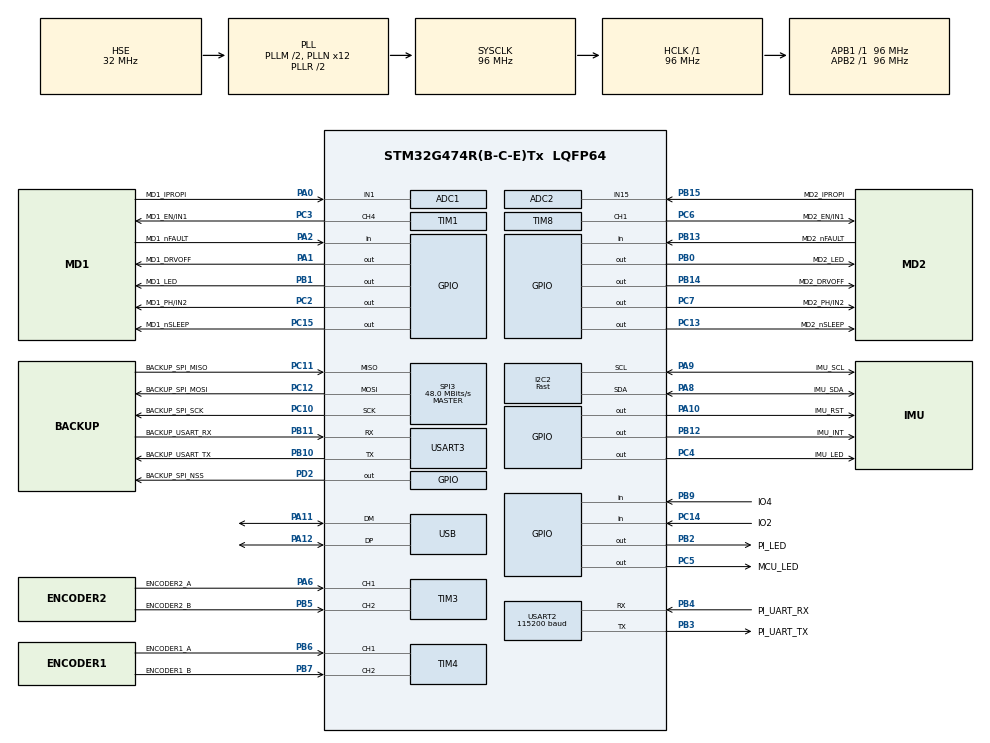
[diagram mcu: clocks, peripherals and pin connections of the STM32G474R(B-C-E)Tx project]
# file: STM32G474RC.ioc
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ADC1.Channel-2\#ChannelRegularConversion=ADC_CHANNEL_1
ADC1.NbrOfConversionFlag=1
ADC1.OffsetNumber-2\#ChannelRegularConversion=ADC_OFFSET_NONE
ADC1.Rank-2\#ChannelRegularConversion=1
ADC1.SamplingTime-2\#ChannelRegularConversion=ADC_SAMPLETIME_2CYCLES_5
ADC1.master=1
ADC2.Channel-0\#ChannelRegularConversion=ADC_CHANNEL_15
ADC2.NbrOfConversionFlag=1
ADC2.OffsetNumber-0\#ChannelRegularConversion=ADC_OFFSET_NONE
ADC2.Rank-0\#ChannelRegularConversion=1
ADC2.SamplingTime-0\#ChannelRegularConversion=ADC_SAMPLETIME_2CYCLES_5
I2C2.CustomTiming=Disabled
I2C2.I2C_Speed_Mode=I2C_Fast
I2C2.Timing=0x20611033
Mcu.Family=STM32G4
Mcu.Name=STM32G474R(B-C-E)Tx
Mcu.Package=LQFP64
NVIC.PriorityGroup=NVIC_PRIORITYGROUP_4
NVIC.TIM6_DAC_IRQn=true\:0\:0\:false\:false\:true\:true\:true\:true
NVIC.USART2_IRQn=true\:0\:0\:false\:false\:true\:true\:true\:true
NVIC.USB_LP_IRQn=true\:0\:0\:false\:false\:true\:false\:true\:true
PA0.GPIO_Label=MD1_IPROPI
PA0.Mode=IN1-Single-Ended
PA0.Signal=ADC1_IN1
PA1.GPIO_Label=MD1_DRVOFF
PA1.PinState=GPIO_PIN_RESET
PA1.Signal=GPIO_Output
PA10.GPIO_Label=IMU_RST
PA10.Signal=GPIO_Output
PA11.Mode=Device
PA11.Signal=USB_DM
PA12.Mode=Device
PA12.Signal=USB_DP
PA13.GPIO_Label=JTAG_SWDIO
PA13.Mode=Serial_Wire
PA13.Signal=SYS_JTMS-SWDIO
PA14.GPIO_Label=JTAG_SWCLK
PA14.Mode=Serial_Wire
PA14.Signal=SYS_JTCK-SWCLK
PA15.GPIO_Label=BACKUP_I2C_SCL
PA15.Signal=I2C1_SCL
PA2.GPIO_Label=MD1_nFAULT
PA2.Signal=GPIO_Input
PA3.GPIO_Label=BUZZER
PA3.Signal=S_TIM2_CH4
PA6.GPIO_Label=ENCODER2_A
PA6.Signal=S_TIM3_CH1
PA8.GPIO_Label=IMU_SDA
PA8.Mode=I2C
PA8.Signal=I2C2_SDA
PA9.GPIO_Label=IMU_SCL
PA9.Mode=I2C
PA9.Signal=I2C2_SCL
PB0.GPIO_Label=MD2_LED
PB0.Signal=GPIO_Output
PB1.GPIO_Label=MD1_LED
PB1.Signal=GPIO_Output
PB10.GPIO_Label=BACKUP_USART_TX
PB10.Mode=Asynchronous
PB10.Signal=USART3_TX
PB11.GPIO_Label=BACKUP_USART_RX
PB11.Mode=Asynchronous
PB11.Signal=USART3_RX
PB12.GPIO_Label=IMU_INT
PB12.Signal=GPIO_Output
PB13.GPIO_Label=MD2_nFAULT
PB13.Signal=GPIO_Input
PB14.GPIO_Label=MD2_DRVOFF
PB14.Signal=GPIO_Output
PB15.GPIO_Label=MD2_IPROPI
PB15.Mode=IN15-Single-Ended
PB15.Signal=ADC2_IN15
PB2.GPIO_Label=PI_LED
PB2.Signal=GPIO_Output
PB3.GPIO_Label=PI_UART_TX
PB3.Mode=Asynchronous
PB3.Signal=USART2_TX
PB4.GPIO_Label=PI_UART_RX
PB4.Mode=Asynchronous
PB4.Signal=USART2_RX
PB5.GPIO_Label=ENCODER2_B
PB5.Signal=S_TIM3_CH2
PB6.GPIO_Label=ENCODER1_A
PB6.Signal=S_TIM4_CH1
PB7.GPIO_Label=ENCODER1_B
PB7.Signal=S_TIM4_CH2
PB8-BOOT0.GPIO_Label=BOOT
PB8-BOOT0.Signal=EVENTOUT
PB9.GPIO_Label=IO4
PB9.Signal=GPIO_Input
PC10.GPIO_Label=BACKUP_SPI_SCK
PC10.Mode=Full_Duplex_Master
PC10.Signal=SPI3_SCK
PC11.GPIO_Label=BACKUP_SPI_MISO
PC11.Mode=Full_Duplex_Master
PC11.Signal=SPI3_MISO
PC12.GPIO_Label=BACKUP_SPI_MOSI
PC12.Mode=Full_Duplex_Master
PC12.Signal=SPI3_MOSI
PC13.GPIO_Label=MD2_nSLEEP
PC13.Signal=GPIO_Output
PC14-OSC32_IN.GPIO_Label=IO2
PC14-OSC32_IN.Signal=GPIO_Input
PC15-OSC32_OUT.GPIO_Label=MD1_nSLEEP
PC15-OSC32_OUT.Signal=GPIO_Output
PC2.GPIO_Label=MD1_PH/IN2
PC2.Signal=GPIO_Output
PC3.GPIO_Label=MD1_EN/IN1
PC3.Signal=S_TIM1_CH4
PC4.GPIO_Label=IMU_LED
PC4.Signal=GPIO_Output
PC5.GPIO_Label=MCU_LED
PC5.Signal=GPIO_Output
PC6.GPIO_Label=MD2_EN/IN1
PC6.Signal=S_TIM8_CH1
PC7.GPIO_Label=MD2_PH/IN2
PC7.Signal=GPIO_Output
PD2.GPIO_Label=BACKUP_SPI_NSS
PD2.Signal=GPIO_Output
PF0-OSC_IN.GPIO_Label=OSCILLATOR_IN
PF0-OSC_IN.Mode=HSE-External-Oscillator
PF0-OSC_IN.Signal=RCC_OSC_IN
PF1-OSC_OUT.GPIO_Label=OSCILLATOR_OUT
PF1-OSC_OUT.Mode=HSE-External-Oscillator
PF1-OSC_OUT.Signal=RCC_OSC_OUT
PG10-NRST.GPIO_Label=MCU_NRST
PG10-NRST.Signal=EVENTOUT
ProjectManager.HeapSize=0x200
ProjectManager.StackSize=0x400
ProjectManager.TargetToolchain=STM32CubeIDE
RCC.ADC12Freq_Value=96000000
RCC.ADC345Freq_Value=96000000
RCC.AHBFreq_Value=96000000
RCC.APB1Freq_Value=96000000
RCC.APB1TimFreq_Value=96000000
RCC.APB2Freq_Value=96000000
RCC.APB2TimFreq_Value=96000000
RCC.CortexFreq_Value=96000000
RCC.EXTERNAL_CLOCK_VALUE=12288000
RCC.HCLKFreq_Value=96000000
RCC.HSE_VALUE=32000000
RCC.HSI48_VALUE=48000000
RCC.HSI_VALUE=16000000
RCC.LSE_VALUE=32768
RCC.PLLM=RCC_PLLM_DIV2
RCC.PLLN=12
RCC.PLLQ=RCC_PLLQ_DIV4
RCC.PLLSourceVirtual=RCC_PLLSOURCE_HSE
RCC.SYSCLKFreq_VALUE=96000000
RCC.SYSCLKSource=RCC_SYSCLKSOURCE_PLLCLK
RCC.USBFreq_Value=48000000
RCC.VCOOutputFreq_Value=192000000
SH.S_TIM1_CH4.0=TIM1_CH4,PWM Generation4 CH4
SH.S_TIM2_CH4.0=TIM2_CH4
SH.S_TIM3_CH1.0=TIM3_CH1,Encoder_Interface
SH.S_TIM3_CH2.0=TIM3_CH2,Encoder_Interface
SH.S_TIM4_CH1.0=TIM4_CH1,Encoder_Interface
SH.S_TIM4_CH2.0=TIM4_CH2,Encoder_Interface
SH.S_TIM8_CH1.0=TIM8_CH1,PWM Generation1 CH1
SPI3.BaudRatePrescaler=SPI_BAUDRATEPRESCALER_2
SPI3.CalculateBaudRate=48.0 MBits/s
SPI3.Direction=SPI_DIRECTION_2LINES
SPI3.Mode=SPI_MODE_MASTER
SPI3.VirtualType=VM_MASTER
TIM1.AutoReloadPreload=TIM_AUTORELOAD_PRELOAD_ENABLE
TIM1.Channel-PWM\ Generation4\ CH4=TIM_CHANNEL_4
TIM1.PeriodNoDither=4799
TIM1.Prescaler=0
TIM3.AutoReloadPreload=TIM_AUTORELOAD_PRELOAD_ENABLE
TIM3.EncoderMode=TIM_ENCODERMODE_TI12
TIM3.IC1Filter=6
TIM3.IC2Filter=6
TIM4.EncoderMode=TIM_ENCODERMODE_TI12
TIM4.IC1Filter=6
TIM4.IC2Filter=6
TIM6.PeriodNoDither=999
TIM6.Prescaler=9599
TIM8.AutoReloadPreload=TIM_AUTORELOAD_PRELOAD_ENABLE
TIM8.Channel-PWM\ Generation1\ CH1=TIM_CHANNEL_1
TIM8.PeriodNoDither=4799
TIM8.Prescaler=0
USART2.BaudRate=115200
USART2.VirtualMode-Asynchronous=VM_ASYNC
USART3.VirtualMode-Asynchronous=VM_ASYNC
USB_DEVICE.CLASS_NAME_FS=CDC
USB_DEVICE.VirtualMode=Cdc
USB_DEVICE.VirtualModeFS=Cdc_FS
VP_SYS_VS_DBSignals.Mode=DisableDeadBatterySignals
VP_TIM5_VS_ClockSourceINT.Mode=Internal
VP_TIM6_VS_ClockSourceINT.Mode=Enable_Timer
VP_USB_DEVICE_VS_USB_DEVICE_CDC_FS.Mode=CDC_FS
board=custom

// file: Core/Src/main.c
/* USER CODE BEGIN Header */
/**
  ******************************************************************************
  * @file           : main.c
  * @brief          : Main program body
  ******************************************************************************
  * @attention
  *
  * Copyright (c) 2026 STMicroelectronics.
  * All rights reserved.
  *
  * This software is licensed under terms that can be found in the LICENSE file
  * in the root directory of this software component.
  * If no LICENSE file comes with this software, it is provided AS-IS.
  *
  ******************************************************************************
  */
/* USER CODE END Header */
#include "main.h"
#include "adc.h"
#include "i2c.h"
#include "spi.h"
#include "tim.h"
#include "usart.h"
#include "usb_device.h"
#include "gpio.h"

/* USER CODE BEGIN Includes */
#include "usbd_cdc_if.h"
#include <bno055.h>
#include "drv8245-q1.h"
#include "pid.h"
#include "motor.h"

/* USER CODE END Includes */

/* USER CODE BEGIN PD */
#define TX_BUFFER_SIZE 102 //currently set for imu (3 * 4 doubles), 2 encoders (2 uint16_t) => (8 * 3 * 4) + (2 * 2) + 2 (framing) = 102 bytes
#define RX_BUFFER_SIZE 10//currently set for 6 floats, (3 linear velocity, 3 angular velocity)
//#define MOTOR_CPR 996.8f

/* USER CODE END PD */

/* USER CODE BEGIN PV */
uint8_t tx_buffer_a[TX_BUFFER_SIZE];
uint8_t tx_buffer_b[TX_BUFFER_SIZE];
uint8_t rx_buffer[RX_BUFFER_SIZE];
int32_t received_left_tics = 0;
int32_t received_right_tics = 0;
uint8_t rx_byte;                      // Temp buffer for the HAL_UART_Receive_IT call
volatile uint8_t new_cmd_flag = 0;    // Flag set by ISR, cleared by main loop. MUST BE VOLATILE.
volatile uint8_t uart2_tx_busy = 0;
uint8_t next_tx_buffer = 0;

uint16_t encoder1;
uint16_t encoder2;

Motor left_motor;
Motor right_motor;

float right_motor_tics;
float left_motor_tics;
float error_integral;
float right_pid_output;
float left_pid_output;
float error;
float p_term;
float i_term;
float d_term;
uint16_t current_encoder;

bno055_units_t current_units;

uint32_t last_imu_read = 0;

bno055_data_vector euler;
bno055_data_vector quaternion;
bno055_data_vector linear;
bno055_data_vector angular;

/* USER CODE END PV */

void SystemClock_Config(void);

/* USER CODE BEGIN 0 */

/*-------------------------------------------------------- init DWT for microsecond delays --------------------------------------------------------*/

uint8_t DWT_Init(void)
{
    /* Check if DWT is present */
    if (!(CoreDebug->DEMCR & CoreDebug_DEMCR_TRCENA_Msk)) {
        /* Enable TRC (Trace) */
        CoreDebug->DEMCR |= CoreDebug_DEMCR_TRCENA_Msk;
    }

    /* Reset the cycle counter */
    DWT->CYCCNT = 0;

    /* Enable cycle counter */
    DWT->CTRL |= DWT_CTRL_CYCCNTENA_Msk;

    uint32_t start = DWT->CYCCNT;
    for (volatile int i = 0; i < 100; i++);
    uint32_t end = DWT->CYCCNT;

    if (end > start) {
        return 0;
    } else {
        return 1;
    }
}

/*-------------------------------------------------------- makes printf redirect to usb --------------------------------------------------------*/
int _write(int file, char *ptr, int len) {
	uint8_t result = USBD_OK;
	uint32_t start_tick = HAL_GetTick();
	uint32_t timeout_ms = 10;

	do {
		result = CDC_Transmit_FS((uint8_t *)ptr, len);

		//if timed out
		if ((HAL_GetTick() - start_tick) > timeout_ms) {
			return 0;
		}

	} while (result == USBD_BUSY);

	if (result == USBD_OK) {
		return len;
	} else {
		return 0;
	}
}

/*-------------------------------------------------------- basic hardware tests --------------------------------------------------------*/

void LED_Test(){
	HAL_GPIO_TogglePin(IMU_LED_GPIO_Port, IMU_LED_Pin);
	HAL_Delay(100);
	HAL_GPIO_TogglePin(MCU_LED_GPIO_Port, MCU_LED_Pin);
	HAL_Delay(100);
	HAL_GPIO_TogglePin(MD2_LED_GPIO_Port, MD2_LED_Pin);
	HAL_Delay(100);
	HAL_GPIO_TogglePin(MD1_LED_GPIO_Port, MD1_LED_Pin);
	HAL_Delay(100);
	HAL_GPIO_TogglePin(PI_LED_GPIO_Port, PI_LED_Pin);
	HAL_Delay(100);
}

void TestPinConnection(void)
{
    printf("Testing pin connection...\r\n");
    HAL_UART_DeInit(&huart2);

    GPIO_InitTypeDef GPIO_InitStruct = {0};
    GPIO_InitStruct.Pin = PI_UART_TX_Pin;
    GPIO_InitStruct.Mode = GPIO_MODE_OUTPUT_PP;
    GPIO_InitStruct.Pull = GPIO_NOPULL;
    HAL_GPIO_Init(PI_UART_TX_GPIO_Port, &GPIO_InitStruct);

    GPIO_InitStruct.Pin = PI_UART_RX_Pin;
    GPIO_InitStruct.Mode = GPIO_MODE_INPUT;
    GPIO_InitStruct.Pull = GPIO_PULLDOWN;
    HAL_GPIO_Init(PI_UART_RX_GPIO_Port, &GPIO_InitStruct);

    HAL_Delay(10);

    HAL_GPIO_WritePin(PI_UART_TX_GPIO_Port, PI_UART_TX_Pin, GPIO_PIN_SET);
    HAL_Delay(1);
    GPIO_PinState rx1 = HAL_GPIO_ReadPin(PI_UART_RX_GPIO_Port, PI_UART_RX_Pin);

    HAL_GPIO_WritePin(PI_UART_TX_GPIO_Port, PI_UART_TX_Pin, GPIO_PIN_RESET);
    HAL_Delay(1);
    GPIO_PinState rx2 = HAL_GPIO_ReadPin(PI_UART_RX_GPIO_Port, PI_UART_RX_Pin);

    printf("TX=HIGH, RX=%d (should be 1)\r\n", rx1);
    printf("TX=LOW, RX=%d (should be 0)\r\n", rx2);

    if(rx1 == 1 && rx2 == 0)
    {
        printf("Pin connection: OK!\r\n");
    }
    else
    {
        printf("Pin connection: FAILED!\r\n");
    }

    MX_USART2_UART_Init();
}

void UARTLoopbackTest(char* testString)
{
    uint8_t rxBuffer[100] = {0};
    uint8_t length = strlen(testString);

    printf("Test starting...\r\n");
    printf("Sending: %s (length=%d)\r\n", testString, length);

    for(int i = 0; i < length; i++)
    {
        HAL_UART_Transmit(&huart2, (uint8_t*)&testString[i], 1, 100);
        HAL_Delay(10);

        if(HAL_UART_Receive(&huart2, &rxBuffer[i], 1, 100) != HAL_OK)
        {
            printf("Timeout at byte %d\r\n", i);
            return;
        }
    }

    rxBuffer[length] = '\0';

    printf("RX String: %s\r\n", (char*)rxBuffer);
    printf("RX Hex: ");
    for(int i = 0; i < length; i++){
        printf("%02X ", rxBuffer[i]);
    }
    printf("\r\n");

    if(strcmp(testString, (char*)rxBuffer) == 0){
        HAL_GPIO_WritePin(PI_LED_GPIO_Port, PI_LED_Pin, 1);
        printf("PASSED\r\n");
    }else{
        printf("FAILED\r\n");
    }
}

void printDebug(bno055_data_vector imu_euler, bno055_data_vector imu_quat, bno055_data_vector imu_linear, bno055_data_vector imu_angular, uint16_t encoder1, uint16_t encoder2){
	//clear screen
//	printf("\033[2J");
//	printf("\033[H");

//	bno055_getOutputUnits(&current_units);
//	printf("Current IMU units:\r\n");
//	printf("  Orientation: %s\r\n", current_units.orientation_android ? "Android" : "Windows");
//	printf("  Temperature: %s\r\n", current_units.temp_fahrenheit ? "Fahrenheit" : "Celsius");
//	printf("  Euler Angles: %s\r\n", current_units.euler_radians ? "Radians" : "Degrees");
//	printf("  Gyroscope: %s\r\n", current_units.gyro_rps ? "rps" : "dps");
//	printf("  Accelerometer: %s\r\n", current_units.accel_mg ? "mg" : "m/s^2");
//    printf("\r\n");

//	printf("Quaternion:\r\n");
//	printf("  W: %.2f | X: %.2f | Y: %.2f | Z: %.2f\r\n", imu_quat.w, imu_quat.x, imu_quat.y, imu_quat.z);
//	printf("Linear Velocity:\r\n");
//	printf("  X: %.2f | Y: %.2f | Z: %.2f\r\n", imu_linear.x, imu_linear.y, imu_linear.z);
//	printf("Angular Velocity:\r\n");
//	printf("  X: %.2f | Y: %.2f | Z: %.2f\r\n", imu_angular.x, imu_angular.y, imu_angular.z);

	//CSV format
	printf("%.2f, %.2f, %.2f, %.2f, %.2f, %.2f, %.2f, %.2f, %.2f\r\n", imu_euler.x, imu_euler.y, imu_euler.z, imu_linear.x, imu_linear.y, imu_linear.z, imu_angular.x, imu_angular.y, imu_angular.z);
//	printf("\r\n");

//	printf("Encoder 1:%d\r\n", encoder1);
//	printf("Encoder 2:%d\r\n", encoder2);
//	printf("\r\n");

//	printf("Transmitted: ");
//	for(int i = 0; i < TX_BUFFER_SIZE; i++) {
//		printf("%02X ", tx_buffer[i]);
//	}
//	printf("\r\n");
//
//	printf("Received (%d bytes): ", RX_BUFFER_SIZE);
//	for(int i = 0; i < RX_BUFFER_SIZE; i++) {
//		printf("%02X ", rx_buffer[i]);
//	}
//	printf("\r\n");
}

/*-------------------------------------------------------- STM32 <-> Raspberry Pi Communication --------------------------------------------------------*/

uint8_t piSend(bno055_data_vector imu_quat, bno055_data_vector imu_linear, bno055_data_vector imu_angular, uint16_t encoder1, uint16_t encoder2){
  if (uart2_tx_busy) {
    return 1;
  }

  uint8_t* tx_buffer = (next_tx_buffer == 0) ? tx_buffer_a : tx_buffer_b;

	tx_buffer[0] = 0xAA;
	memcpy(&tx_buffer[1], &imu_quat.w, 8);
	memcpy(&tx_buffer[9], &imu_quat.x, 8);
	memcpy(&tx_buffer[17], &imu_quat.y, 8);
	memcpy(&tx_buffer[25], &imu_quat.z, 8);
	memcpy(&tx_buffer[33], &imu_linear.w, 8);
	memcpy(&tx_buffer[41], &imu_linear.x, 8);
	memcpy(&tx_buffer[49], &imu_linear.y, 8);
	memcpy(&tx_buffer[57], &imu_linear.z, 8);
	memcpy(&tx_buffer[65], &imu_angular.w, 8);
	memcpy(&tx_buffer[73], &imu_angular.x, 8);
	memcpy(&tx_buffer[81], &imu_angular.y, 8);
	memcpy(&tx_buffer[89], &imu_angular.z, 8);
	memcpy(&tx_buffer[97], &encoder1, 2);
	memcpy(&tx_buffer[99], &encoder2, 2);
	tx_buffer[101] = 0x55; //use index sizeof(tx_buffer) - 1

  uart2_tx_busy = 1;
  HAL_StatusTypeDef sendStatus = HAL_UART_Transmit_IT(&huart2, tx_buffer, TX_BUFFER_SIZE);
	if (sendStatus != HAL_OK){
    uart2_tx_busy = 0;
		return 2;
	}

  next_tx_buffer ^= 1;

//	HAL_GPIO_WritePin(PI_LED_GPIO_Port, PI_LED_Pin, GPIO_PIN_SET);

	return 0;
}

//uint8_t piReceive(uint8_t* rx_buffer){
//
//    if (rx_buffer == NULL) {
//        printf("Error: receiveData pointer is NULL\r\n");
//        return 3;
//    }
//    memset(rx_buffer, 0, RX_BUFFER_SIZE);
//
//    HAL_StatusTypeDef receiveStatus = HAL_UART_Receive(&huart2, rx_buffer, RX_BUFFER_SIZE, 20);// check &huart2				//rx buffersize =10
//    if (receiveStatus != HAL_OK) {
//        if (receiveStatus == HAL_TIMEOUT) {
//            //printf("RX Timeout\r\n");
//        } else {
//            //printf("RX error: %d\r\n", receiveStatus);
//        }
//        return 1;
//    }
//
//    if (rx_buffer[0] != 0xAA || rx_buffer[RX_BUFFER_SIZE - 1] != 0x55) {
//        //printf("Invalid packet markers!\r\n");
//        return 1; // Indicate failure
//    }
//
//    memcpy(&left_tics,&rx_buffer[1],4);//left_ticks
//    memcpy(&right_tics,&rx_buffer[5],4);//right_tics
//    printf("RX error: %d\r\n", receiveStatus);
//    return 0;
//}

/* USER CODE END 0 */

int main(void)
{

  /* MCU Configuration--------------------------------------------------------*/

  /* Reset of all peripherals, Initializes the Flash interface and the Systick. */
  HAL_Init();

  /* Configure the system clock */
  SystemClock_Config();

  /* Initialize all configured peripherals */
  MX_GPIO_Init();
  MX_ADC1_Init();
  MX_ADC2_Init();
  MX_TIM1_Init();
  MX_TIM8_Init();
  MX_USART2_UART_Init();
  MX_I2C2_Init();
  MX_SPI3_Init();
  MX_USART3_UART_Init();
  MX_USB_Device_Init();
  MX_TIM5_Init();
  MX_TIM3_Init();
  MX_TIM4_Init();
  MX_TIM6_Init();
  /* USER CODE BEGIN 2 */

  DWT_Init(); //used to calculate microsecond pulses in drv8245-q1.c

  //Low pass filter initialize
  HAL_Delay(1000);

  //Display MCU Function LED
  HAL_GPIO_WritePin(MCU_LED_GPIO_Port, MCU_LED_Pin, GPIO_PIN_SET);

  //IMU
  bno055_assign(&hi2c2);
  bno055_init();
  bno055_setOperationModeNDOF();

  //Motor setup
  //Motor Initialize
  Motor_Init(&left_motor, 1,
		  MD1_nSLEEP_GPIO_Port, MD1_nSLEEP_Pin,
		  MD1_nFAULT_GPIO_Port, MD1_nFAULT_Pin,
		  MD1_PH_IN2_GPIO_Port, MD1_PH_IN2_Pin,
		  MD1_LED_GPIO_Port, MD1_LED_Pin,
		  &htim1, TIM_CHANNEL_4,
		  &htim4, 260
		  );

  Motor_Init(&right_motor, 1,
		  MD2_nSLEEP_GPIO_Port, MD2_nSLEEP_Pin,
		  MD2_nFAULT_GPIO_Port, MD2_nFAULT_Pin,
		  MD2_PH_IN2_GPIO_Port, MD2_PH_IN2_Pin,
		  MD2_LED_GPIO_Port, MD2_LED_Pin,
		  &htim8, TIM_CHANNEL_1,
		  &htim3, 285
		  );

  //Motor Driver Initialize
  motor_driver_init(&right_motor);
  motor_driver_init(&left_motor);

  //PID loop initialize
  MotorControl_Init(&left_motor,
		  0.828f, //Kp
		  5.85f,	//Ki
		  0.0f);	//Kd

  MotorControl_Init(&right_motor,
		  0.855f, //Kp
		  6.03f,	//Ki
		  0.0f);	//Kd

  HAL_TIM_Base_Start_IT(&htim6);

  HAL_UART_Receive_IT(&huart2, &rx_byte, 1);
  /* random tests, commented out */
  //LED_Test();

  //TestPinConnection();

  //char test[] = "Hello world";
  //UARTLoopbackTest(test);

  uint32_t last_print_time = 0;
  const uint32_t print_interval = 1;

  //MOTOR SPEED SHIFTING TEST SET UP
  /*const int32_t speed_setpoints[] = {
      100,   // Forward, medium speed
      -100,  // Reverse, medium speed
      200,   // Forward, high speed
      0,      // Stop
      -50   // Reverse, low speed
  };
  const int num_steps = sizeof(speed_setpoints) / sizeof(speed_setpoints[0]);
  int test_step_index = 0;

  uint32_t last_step_change_time = 0;
  const uint32_t STEP_CHANGE_INTERVAL = 5000;*/

  //MOTOR CONSTANT SPEED TEST
  //motor_driver_setSpeed(&left_motor, -0.1);
  //motor_driver_setSpeed(&right_motor, -0.1);

  /* USER CODE END 2 */

  /* Infinite loop */
  while (1)
  {

    /* USER CODE BEGIN 3 */

//    //IMU
//    bno055_data_vector quaternion = bno055_getVectorQuaternion();
//    bno055_data_vector linear = bno055_getVectorLinearAccel();
//    bno055_data_vector angular = bno055_getVectorGyroscope();
//
//    //Motor Encoders
//    encoder1 = (uint16_t)__HAL_TIM_GET_COUNTER(&htim4);
//    encoder2 = (uint16_t)__HAL_TIM_GET_COUNTER(&htim3);
//
//    //Raspberry Pi Communication
//    piSend(quaternion, linear, angular, encoder1, encoder2);
//
//    printDebug(quaternion, linear, angular, encoder1, encoder2);

	uint8_t curr_time = HAL_GetTick() - last_imu_read;
	if (curr_time >= 10) {
		last_imu_read = HAL_GetTick();

		euler = bno055_getVectorEuler();
		quaternion = bno055_getVectorQuaternion();
		linear = bno055_getVectorLinearAccel();
		angular = bno055_getVectorGyroscope();

	}

		encoder1 = (uint16_t)__HAL_TIM_GET_COUNTER(&htim4);
		encoder2 = (uint16_t)__HAL_TIM_GET_COUNTER(&htim3);

		piSend(quaternion, linear, angular, encoder1, encoder2);
//		printDebug(euler, quaternion, linear, angular, encoder1, encoder2);

    // --- NEW: Check for and process commands from the Raspberry Pi ---
    if (new_cmd_flag == 1)
    {
        // A new packet was assembled by the interrupt. Let's look at it.
        new_cmd_flag = 0; // Reset the flag immediately

        // --- NEW DIAGNOSTIC PRINT ---
        //printf("Main Loop: Flag received! Buffer contains: ");
//        for(int i=0; i < RX_BUFFER_SIZE; i++)
//        {
//            printf("0x%02X ", rx_buffer[i]);
//        }
//        printf("\r\n");

        // Now, parse the data from the buffer
        memcpy(&received_left_tics,  &rx_buffer[1], sizeof(int32_t));
        memcpy(&received_right_tics, &rx_buffer[5], sizeof(int32_t));

        //printf("Main Loop: Parsed values! Left: %ld, Right: %ld\r\n",
               //received_left_tics, received_right_tics);

		MotorControl_SetTargetSpeed(&right_motor, received_right_tics);
		MotorControl_SetTargetSpeed(&left_motor, received_left_tics);

    }

    /* Motor speed change test
    // Get current time
    uint32_t current_time = HAL_GetTick();
    //change speed
    if (current_time - last_step_change_time >= STEP_CHANGE_INTERVAL) {
        last_step_change_time = current_time; // Reset the timer

        // Move to the next step in the sequence, looping back to the start
        test_step_index = (test_step_index + 1) % num_steps;
        int32_t new_speed = speed_setpoints[test_step_index];

        // Set the new target for the PID controller
        MotorControl_SetTargetSpeed_RPM(&right_motor, new_speed);

        printf("\r\n--- NEW TARGET: %ld ticks/sec ---\r\n", new_speed);
    }
	*/

//    MotorControl_SetTargetSpeed_RPM(&right_motor, 0);
//    MotorControl_SetTargetSpeed_RPM(&left_motor, 0);

//    MotorControl_SetTargetSpeed(&right_motor, received_right_tics);
//    MotorControl_SetTargetSpeed(&left_motor, received_left_tics);

    //Motor speed

    //Right motor debug info
	right_motor_tics = MotorControl_getTics(&right_motor);
	right_pid_output = MotorControl_pidOutput(&right_motor);
//	error_integral = MotorControl_getIntegral(&right_motor);
//	error = MotorControl_getError(&right_motor);
//	p_term = MotorControl_getP(&right_motor);
//	i_term = MotorControl_getI(&right_motor);
//	d_term = MotorControl_getD(&right_motor);
//	current_encoder = MotorControl_getEncoder(&right_motor);

    //Left motor debug info
    	left_motor_tics = MotorControl_getTics(&left_motor);
    	left_pid_output = MotorControl_pidOutput(&left_motor);
//    	error_integral = MotorControl_getIntegral(&left_motor);
//    	error = MotorControl_getError(&left_motor);
//    	p_term = MotorControl_getP(&left_motor);
//    	i_term = MotorControl_getI(&left_motor);
//    	d_term = MotorControl_getD(&left_motor);
//    	current_encoder = MotorControl_getEncoder(&left_motor);

//    if (HAL_GetTick() - last_print_time >= print_interval) {
//        last_print_time = HAL_GetTick();
//        printf("%.2f, %.2f, %.1f, %.2f, %.2f, %.1f\r\n",
//        		//encoder1, current_encoder, 40.0f, p_term, i_term, error);
//        		right_motor_tics, right_pid_output, received_right_tics, left_motor_tics, left_pid_output, received_left_tics);
//    }

  }
  /* USER CODE END 3 */
}

void SystemClock_Config(void)
{
  RCC_OscInitTypeDef RCC_OscInitStruct = {0};
  RCC_ClkInitTypeDef RCC_ClkInitStruct = {0};

  /** Configure the main internal regulator output voltage
  */
  HAL_PWREx_ControlVoltageScaling(PWR_REGULATOR_VOLTAGE_SCALE1);

  /** Initializes the RCC Oscillators according to the specified parameters
  * in the RCC_OscInitTypeDef structure.
  */
  RCC_OscInitStruct.OscillatorType = RCC_OSCILLATORTYPE_HSE;
  RCC_OscInitStruct.HSEState = RCC_HSE_ON;
  RCC_OscInitStruct.PLL.PLLState = RCC_PLL_ON;
  RCC_OscInitStruct.PLL.PLLSource = RCC_PLLSOURCE_HSE;
  RCC_OscInitStruct.PLL.PLLM = RCC_PLLM_DIV2;
  RCC_OscInitStruct.PLL.PLLN = 12;
  RCC_OscInitStruct.PLL.PLLP = RCC_PLLP_DIV2;
  RCC_OscInitStruct.PLL.PLLQ = RCC_PLLQ_DIV4;
  RCC_OscInitStruct.PLL.PLLR = RCC_PLLR_DIV2;
  if (HAL_RCC_OscConfig(&RCC_OscInitStruct) != HAL_OK)
  {
    Error_Handler();
  }

  /** Initializes the CPU, AHB and APB buses clocks
  */
  RCC_ClkInitStruct.ClockType = RCC_CLOCKTYPE_HCLK|RCC_CLOCKTYPE_SYSCLK
                              |RCC_CLOCKTYPE_PCLK1|RCC_CLOCKTYPE_PCLK2;
  RCC_ClkInitStruct.SYSCLKSource = RCC_SYSCLKSOURCE_PLLCLK;
  RCC_ClkInitStruct.AHBCLKDivider = RCC_SYSCLK_DIV1;
  RCC_ClkInitStruct.APB1CLKDivider = RCC_HCLK_DIV1;
  RCC_ClkInitStruct.APB2CLKDivider = RCC_HCLK_DIV1;

  if (HAL_RCC_ClockConfig(&RCC_ClkInitStruct, FLASH_LATENCY_3) != HAL_OK)
  {
    Error_Handler();
  }
}

/* USER CODE BEGIN 4 */
// ADD THIS CALLBACK
void HAL_TIM_PeriodElapsedCallback(TIM_HandleTypeDef *htim)
{
  if(htim->Instance == TIM6)
  {
	  MotorControl_RunPID(&left_motor);
	  MotorControl_RunPID(&right_motor);
  }
}

void HAL_UART_TxCpltCallback(UART_HandleTypeDef *huart)
{
  if (huart->Instance == USART2)
  {
    uart2_tx_busy = 0;
  }
}

void HAL_UART_ErrorCallback(UART_HandleTypeDef *huart)
{
  if (huart->Instance == USART2)
  {
    uart2_tx_busy = 0;
  }
}

void HAL_UART_RxCpltCallback(UART_HandleTypeDef *huart)
{
    static uint8_t rx_index = 0;
    static uint8_t packet_started = 0;
    const uint8_t START_MARKER = 0xAA;
    const uint8_t END_MARKER = 0x55;

    // Make sure the interrupt is from the correct UART
    if (huart->Instance == USART2)
    {
        // State 1: Waiting for a start marker
        if (!packet_started)
        {
            if (rx_byte == START_MARKER)
            {
                packet_started = 1;
                rx_index = 0;
                rx_buffer[rx_index++] = rx_byte;
            }
        }
        // State 2: Already receiving a packet
        else
        {
            rx_buffer[rx_index++] = rx_byte;

            // Check if we have received a full packet
            if (rx_index >= RX_BUFFER_SIZE) // RX_BUFFER_SIZE should be 10
            {
                // Check if the packet is valid (correct end marker)
                if (rx_buffer[RX_BUFFER_SIZE - 1] == END_MARKER)
                {
                    // Valid packet! Set the flag for the main loop.
                    new_cmd_flag = 1;
                }
                // Reset the state machine for the next packet search
                packet_started = 0;
                rx_index = 0;
            }
        }

        // CRITICAL: Re-arm the interrupt to listen for the next single byte.
        // This line MUST be reached for communication to continue.
        HAL_UART_Receive_IT(&huart2, &rx_byte, 1);
    }
}
/* USER CODE END 4 */

void Error_Handler(void)
{
  __disable_irq();
  while (1)
  {
  }
}
